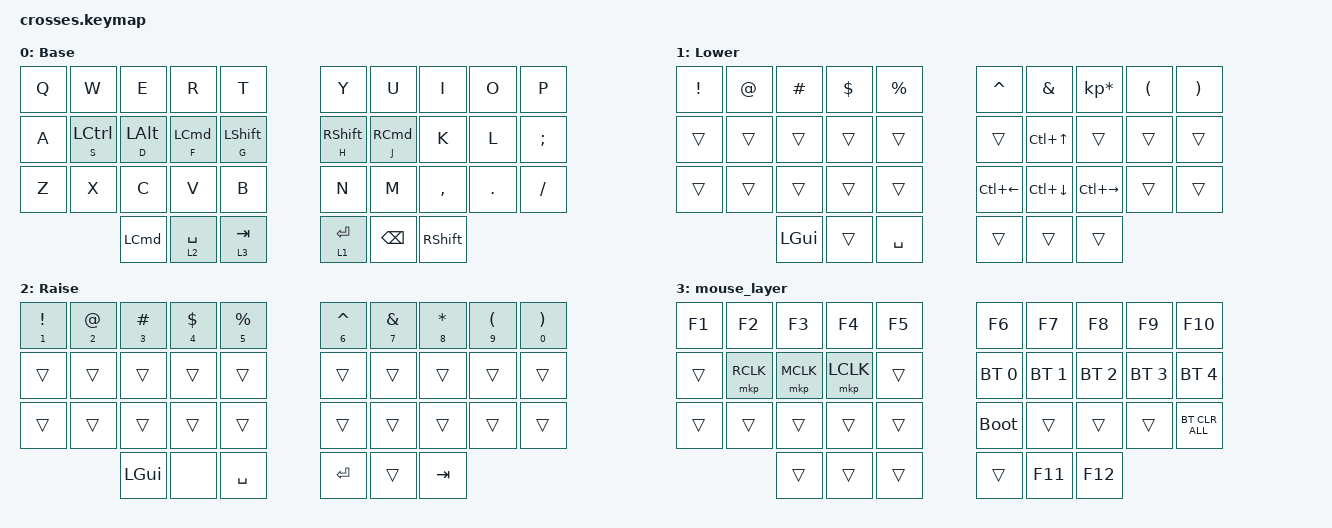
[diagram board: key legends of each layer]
#include <behaviors.dtsi>
#include <dt-bindings/zmk/bt.h>
#include <dt-bindings/zmk/keys.h>
#include <dt-bindings/zmk/pointing.h>

/ {
    chosen { zmk,physical-layout = &gggw_crosses_36_layout; };

    behaviors {
        as: auto_shift {
            compatible = "zmk,behavior-hold-tap";
            #binding-cells = <2>;
            tapping_term_ms = <200>;
            quick_tap_ms = <0>;
            flavor = "tap-preferred";
            bindings = <&kp>, <&kp>;
        };

        lhht: left-hand-hold-tap {
            compatible = "zmk,behavior-hold-tap";
            label = "LEFT_HOLD_TAP";
            bindings = <&kp>, <&kp>;

            #binding-cells = <2>;
            tapping-term-ms = <200>;
            quick-tap-ms = <125>;
            hold-trigger-key-positions = <0 1 2 3 4 10 11 12 13 14 20 21 22 23 24 30 31 32>;
        };

        rhht: rhht {
            compatible = "zmk,behavior-hold-tap";
            label = "RHHT";
            bindings = <&kp>, <&kp>;

            #binding-cells = <2>;
            tapping-term-ms = <200>;
            quick-tap-ms = <125>;
            hold-trigger-key-positions = <5 6 7 8 9 15 16 17 18 19 25 26 27 28 29 33 34 35>;
        };
    };

    combos {
        compatible = "zmk,combos";

        caps {
            bindings = <&kp CAPSLOCK>;
            key-positions = <10 20>;
        };

        esc {
            bindings = <&kp ESCAPE>;
            key-positions = <0 1>;
        };

        bs {
            bindings = <&kp GRAVE>;
            key-positions = <0 10>;
        };

        lbkt {
            bindings = <&kp LEFT_BRACKET>;
            key-positions = <8 9>;
        };

        rbkt {
            bindings = <&kp RIGHT_BRACKET>;
            key-positions = <18 19>;
        };

        app {
            bindings = <&kp SQT>;
            key-positions = <19 29>;
        };

        bss {
            bindings = <&kp BACKSLASH>;
            key-positions = <9 19>;
        };
    };

    keymap {
        compatible = "zmk,keymap";

        default_layer {
            display-name = "Base";
            bindings = <
&kp Q  &kp W                 &kp E             &kp R                 &kp T               &kp Y          &kp U                  &kp I      &kp O    &kp P
&kp A  &lhht S LEFT_CONTROL  &lhht D LEFT_ALT  &lhht F LEFT_COMMAND  &lhht G LEFT_SHIFT  &rhht H RSHFT  &rhht J RIGHT_COMMAND  &kp K      &kp L    &kp SEMICOLON
&kp Z  &kp X                 &kp C             &kp V                 &kp B               &kp N          &kp M                  &kp COMMA  &kp DOT  &kp SLASH
                             &kp LEFT_COMMAND  &lt 2 SPACE           &lt 3 TAB           &lt 1 ENTER    &kp BACKSPACE          &kp RSHFT
            >;
        };

        lower_layer {
            display-name = "Lower";
            bindings = <
&kp EXCL  &kp AT  &kp HASH  &kp DLLR  &kp PRCNT  &kp CARET           &kp AMPS            &kp KP_MULTIPLY      &kp LPAR  &kp RPAR
&trans    &trans  &trans    &trans    &trans     &trans              &kp LC(UP_ARROW)    &trans               &trans    &trans
&trans    &trans  &trans    &trans    &trans     &kp LC(LEFT_ARROW)  &kp LC(DOWN_ARROW)  &kp LC(RIGHT_ARROW)  &trans    &trans
                  &kp LGUI  &trans    &kp SPACE  &trans              &trans              &trans
            >;
        };

        raise_layer {
            display-name = "Raise";
            bindings = <
&as N1 EXCL  &as N2 AT  &as N3 HASH  &as N4 DOLLAR  &as N5 PERCENT  &as N6 CARET  &as N7 AMPS  &as N8 ASTRK  &as N9 LEFT_PARENTHESIS  &as N0 RIGHT_PARENTHESIS
&trans       &trans     &trans       &trans         &trans          &trans        &trans       &trans        &trans                   &trans
&trans       &trans     &trans       &trans         &trans          &trans        &trans       &trans        &trans                   &trans
                        &kp LGUI     &none          &kp SPACE       &kp RET       &trans       &kp TAB
            >;
        };

        mouse_layer {
            bindings = <
&kp F1  &kp F2     &kp F3     &kp F4     &kp F5  &kp F6        &kp F7        &kp F8        &kp F9        &kp F10
&trans  &mkp RCLK  &mkp MCLK  &mkp LCLK  &trans  &bt BT_SEL 0  &bt BT_SEL 1  &bt BT_SEL 2  &bt BT_SEL 3  &bt BT_SEL 4
&trans  &trans     &trans     &trans     &trans  &bootloader   &trans        &trans        &trans        &bt BT_CLR_ALL
                   &trans     &trans     &trans  &trans        &kp F11       &kp F12
            >;
        };
    };
};
